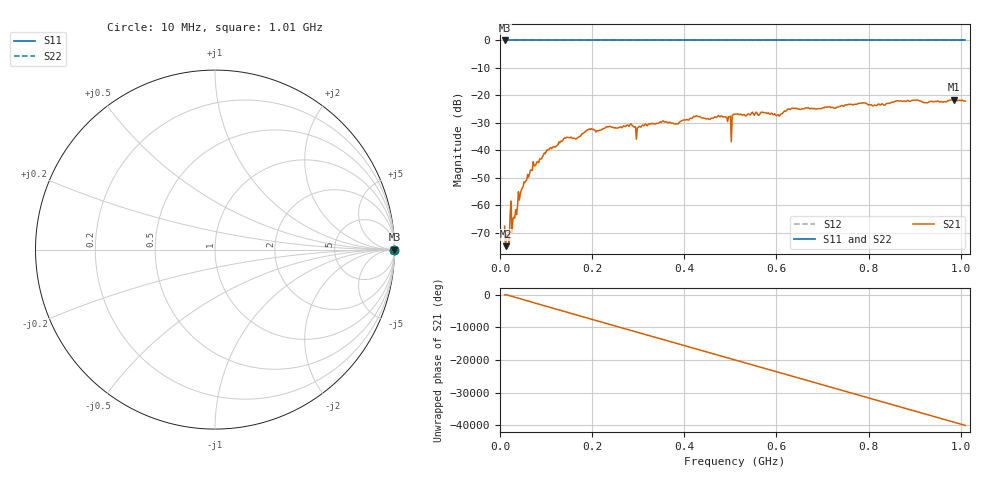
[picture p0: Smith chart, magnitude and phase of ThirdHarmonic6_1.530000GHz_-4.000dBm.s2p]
! 8/16/2025 6:05:55 PM
! C:\ANRITSUVNA\TEMP\TEMP.S2P
! CHANNEL.1
! TR.MEASUREMENT
! RAW.DATA
! RF.CORRECTION.OFF
! AVERAGING.OFF
! IF.BANDWIDTH: 5KHZ
! SWEEPTYPE:  FREQ.SWEEP(Linear)
! Reference Plane Port Info
! PORT:  PORT1  PORT2
! DISTANCE:  0  m  0  m
! TIME:  0  s  0  s
! PHASE.OFFSET:  0  deg.  0  deg.
! LOSS:  0  dB  0  dB
! REF.LOSS:  0  dB  0  dB
! REF.FREQ:  0  Hz  0  Hz
! Power Info
! POWER:  -20  dBm  -20  dBm
! EFF.POWER:  -20  dBm  -20  dBm
! SOURCE.ATTEN:  0  dB  0  dB
! TEST.ATTEN:  0  dB  0  dB
# GHZ S RI R 50.0
! FREQ.GHZ  S11RE  S11IM  S21RE  S21IM  S12RE  S12IM  S22RE  S22IM
!; PortSelection: Port_12
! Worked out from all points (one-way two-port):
!   501 points, 10 MHz to 1.01 GHz, reference 50 ohm
!   highest |S21| = -21.54 dB at 986 MHz (marker M1); lowest = -74.9 dB at 12 MHz (marker M2)
!   lowest |S11| = 0.0 dB at 10 MHz (marker M3)
!   |S11| at or under -10 dB: nowhere
!   |S22| runs from 0.0 to 0.0 dB; largest |S21 - S12| = 1.1
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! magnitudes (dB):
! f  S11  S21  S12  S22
! 10 MHz  0.0  -67.6  0.0  0.0
! 12 MHz  0.0  -74.9  0.0  0.0
! 16 MHz  0.0  -71.2  0.0  0.0
! 20 MHz  0.0  -74.1  0.0  0.0
! 26 MHz  0.0  -70.3  0.0  0.0
! 30 MHz  0.0  -64.3  0.0  0.0
! 44 MHz  0.0  -55.9  0.0  0.0
! 76 MHz  0.0  -45.6  0.0  0.0
! 142 MHz  0.0  -35.5  0.0  0.0
! 178 MHz  0.0  -34.0  0.0  0.0
! 194 MHz  0.0  -32.2  0.0  0.0
! 344 MHz  0.0  -30.1  0.0  0.0
! 478 MHz  0.0  -27.8  0.0  0.0
! 496 MHz  0.0  -27.8  0.0  0.0
! 498 MHz  0.0  -27.7  0.0  0.0
! 510 MHz  0.0  -26.8  0.0  0.0
! 604 MHz  0.0  -27.0  0.0  0.0
! 630 MHz  0.0  -25.1  0.0  0.0
! 678 MHz  0.0  -24.8  0.0  0.0
! 844 MHz  0.0  -22.9  0.0  0.0
! 986 MHz  0.0  -21.5  0.0  0.0
! 1.01 GHz  0.0  -22.1  0.0  0.0
